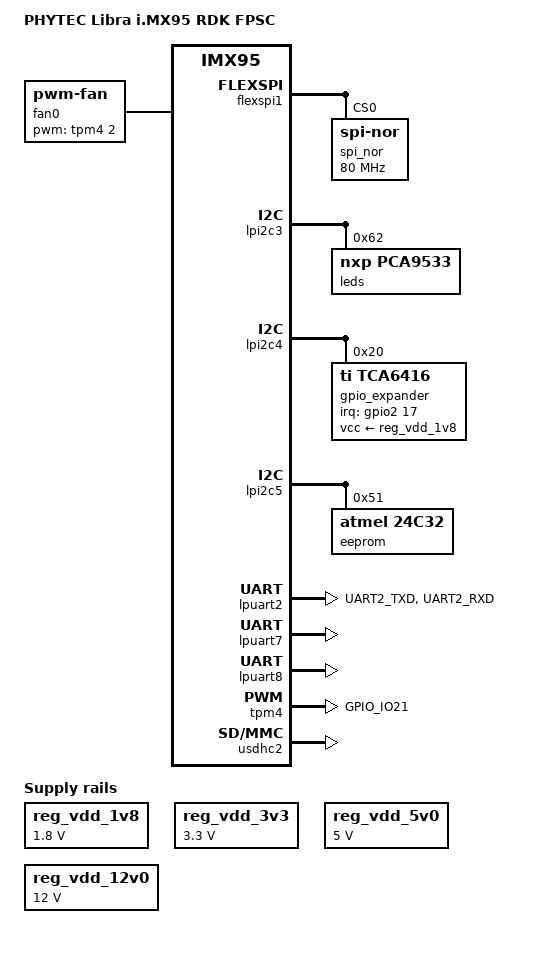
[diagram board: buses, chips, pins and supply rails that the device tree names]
// SPDX-License-Identifier: (GPL-2.0+ OR MIT)
/*
 * Copyright 2025 PHYTEC Messtechnik GmbH
 */

/dts-v1/;

#include <dt-bindings/pwm/pwm.h>
#include <dt-bindings/leds/leds-pca9532.h>

#include "imx95-phycore-fpsc.dtsi"

/ {
	model = "PHYTEC Libra i.MX95 RDK FPSC";
	compatible = "phytec,imx95-libra-rdk-fpsc",
		     "phytec,imx95-phycore-fpsc", "fsl,imx95";

	chosen {
		stdout-path = &lpuart7;
	};

	fan0: pwm-fan {
		compatible = "pwm-fan";
		#cooling-cells = <2>;
		/* copied from bindings example, need to be tested */
		cooling-levels = <0 102 170 230>;
		pwms = <&tpm4 2 4000000 PWM_POLARITY_INVERTED>;
	};

	reg_vdd_1v8: regulator-vdd-1v8 {
		compatible = "regulator-fixed";
		regulator-always-on;
		regulator-boot-on;
		regulator-min-microvolt = <1800000>;
		regulator-max-microvolt = <1800000>;
		regulator-name = "VDD_1V8";
	};

	reg_vdd_3v3: regulator-vdd-3v3 {
		compatible = "regulator-fixed";
		regulator-always-on;
		regulator-boot-on;
		regulator-min-microvolt = <3300000>;
		regulator-max-microvolt = <3300000>;
		regulator-name = "VDD_3V3";
	};

	reg_vdd_5v0: regulator-vdd-5v0 {
		compatible = "regulator-fixed";
		regulator-always-on;
		regulator-boot-on;
		regulator-max-microvolt = <5000000>;
		regulator-min-microvolt = <5000000>;
		regulator-name = "VDD_5V0";
	};

	reg_vdd_12v0: regulator-12v0 {
		compatible = "regulator-fixed";
		regulator-always-on;
		regulator-boot-on;
		regulator-max-microvolt = <12000000>;
		regulator-min-microvolt = <12000000>;
		regulator-name = "VDD_12V0";
	};
};

/* SPI-NOR */
&flexspi1 {
	pinctrl-names = "default";
	pinctrl-0 = <&pinctrl_flexspi>;
	status = "okay";

	spi_nor: flash@0 {
		compatible = "jedec,spi-nor";
		reg = <0>;
		spi-max-frequency = <80000000>;
		spi-rx-bus-width = <4>;
		spi-tx-bus-width = <1>;
	};
};

&lpi2c3 {
	status = "okay";

	leds@62 {
		compatible = "nxp,pca9533";
		reg = <0x62>;

		led-1 {
			type = <PCA9532_TYPE_LED>;
		};

		led-2 {
			type = <PCA9532_TYPE_LED>;
		};

		led-3 {
			type = <PCA9532_TYPE_LED>;
		};
	};
};

&lpi2c4 {
	status = "okay";

	gpio_expander: gpio@20 {
		compatible = "ti,tca6416";
		#gpio-cells = <2>;
		gpio-controller;
		gpio-line-names = "CSI1_CTRL1", "CSI1_CTRL2", "CSI1_CTRL3",
				  "CSI1_CTRL4", "CSI2_CTRL1", "CSI2_CTRL2",
				   "CSI2_CTRL3", "CSI2_CTRL4", "CLK_EN_AV",
				  "nCAN2_EN", "nCAN1_EN", "PCIE1_nWAKE",
				  "PCIE2_nWAKE", "PCIE2_nALERT_3V3",
				  "UART1_BT_RS_SEL", "UART1_RS232_485_SEL";
		interrupt-parent = <&gpio2>;
		interrupts = <17 IRQ_TYPE_LEVEL_LOW>;
		reg = <0x20>;
		vcc-supply = <&reg_vdd_1v8>;

		uart1_bt_rs_sel: bt-rs-hog {
			gpio-hog;
			gpios = <14 0>;
			output-low;
			line-name = "UART1_BT_RS_SEL";
		};

		uart1_rs232_485_sel: rs232-485-hog {
			gpio-hog;
			gpios = <15 0>;
			output-high;
			line-name = "UART1_RS232_485_SEL";
		};
	};
};

&lpi2c5 {
	status = "okay";

	eeprom@51 {
		compatible = "atmel,24c32";
		reg = <0x51>;
		pagesize = <32>;
	};

};

/* Used for M33 debug */
&lpuart2 {
	pinctrl-names = "default";
	pinctrl-0 = <&pinctrl_lpuart2>;
};

/* A-55 debug UART */
&lpuart7 {
	status = "okay";
};

/* RS232/RS485/BT */
&lpuart8 {
	uart-has-rtscts;
	status = "okay";
};

&scmi_iomuxc {
	pinctrl_tpm4: tpm4grp {
		fsl,pins = <
			IMX95_PAD_GPIO_IO21__TPM4_CH1	0x31e
		>;
	};

	pinctrl_lpuart2: lpuart2grp { /* FPSC proprietary */
		fsl,pins = <
			IMX95_PAD_UART2_TXD__AONMIX_TOP_LPUART2_TX	0x31e
			IMX95_PAD_UART2_RXD__AONMIX_TOP_LPUART2_RX	0x31e
		>;
	};
};

&tpm4 {
	pinctrl-names = "default";
	pinctrl-0 = <&pinctrl_tpm4>;
	status = "okay";
};

/* uSD Card */
&usdhc2 {
	status = "okay";
};
